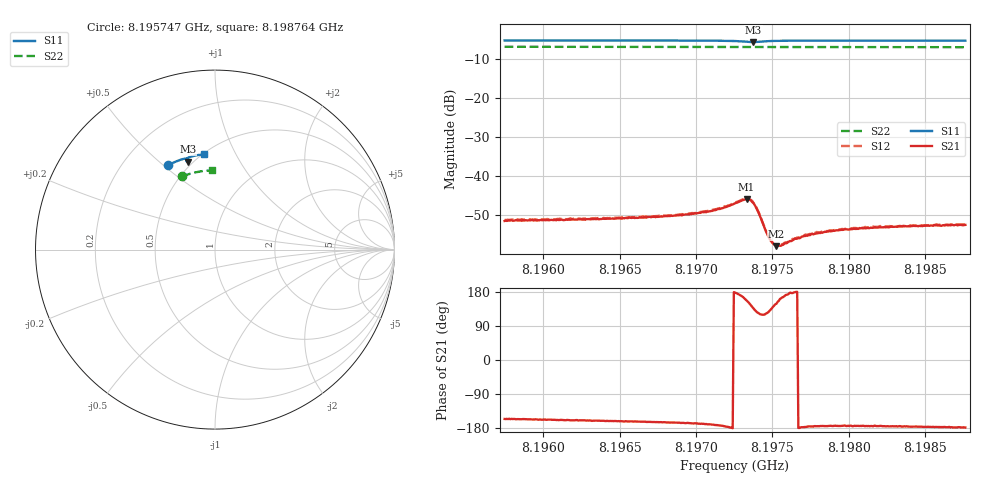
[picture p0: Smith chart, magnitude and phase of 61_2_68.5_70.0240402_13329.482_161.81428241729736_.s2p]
#  HZ  S  RI  R  50.00
! Rohde & Schwarz Vector Network Analyzer
! Rohde-Schwarz,ZNB20-2Port,1311601062101988,3.16
! Created: UTC 3/20/2024, 4:51:14 PM
! freq[Hz]  re:S11  im:S11  re:S21  im:S21  re:S12  im:S12  re:S22  im:S22
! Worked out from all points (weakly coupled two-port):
!   401 points, 8.195747 GHz to 8.198764 GHz, reference 50 ohm
!   highest |S21| = -45.92 dB at 8.197331 GHz (marker M1); lowest = -57.9 dB at 8.197527 GHz (marker M2)
!   lowest |S11| = -5.8 dB at 8.197376 GHz (marker M3), VSWR 3.11, Z = 23.5 + j31.3 ohm
!   |S11| at or under -10 dB: nowhere
!   |S22| runs from -7.1 to -7.0 dB; largest |S21 - S12| = 0.00028
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8.1957472e9  -0.2626 0.4689  -0.00244 -0.00111  -0.00256 -0.00104  -0.1822 0.4073
8.1962526e9  -0.2303 0.4851  -0.00264 -0.000986  -0.00269 -0.000887  -0.1558 0.4174
8.196758e9  -0.1961 0.499  -0.00292 -0.000832  -0.00304 -0.00074  -0.1286 0.4257
8.1969315e9  -0.1835 0.5032  -0.00317 -0.000748  -0.00324 -0.000673  -0.1193 0.428
8.1970823e9  -0.1713 0.5064  -0.00347 -0.000631  -0.00357 -0.000513  -0.1108 0.4299
8.1971653e9  -0.1636 0.5073  -0.00385 -0.000449  -0.00394 -0.00031  -0.1062 0.4309
8.1972558e9  -0.1535 0.5057  -0.00449 0.000155  -0.00457 0.000377  -0.1012 0.4318
8.1973086e9  -0.1477 0.5006  -0.00481 0.0012  -0.00484 0.00144  -0.0981 0.4322
8.1973312e9  -0.1467 0.4965  -0.00467 0.00194  -0.00466 0.00219  -0.0971 0.4325
8.1973539e9  -0.1482 0.4923  -0.0042 0.00267  -0.00411 0.00293  -0.0958 0.4326
8.1973765e9  -0.1521 0.4898  -0.00328 0.00313  -0.00318 0.00332  -0.0947 0.4327
8.1974067e9  -0.1581 0.4912  -0.00199 0.00292  -0.0019 0.00306  -0.0932 0.4331
8.1974745e9  -0.1598 0.5023  -0.001 0.00136  -0.000985 0.00141  -0.0897 0.434
8.1974896e9  -0.159 0.5042  -0.00103 0.0011  -0.000985 0.00117  -0.0887 0.4343
8.1975047e9  -0.1579 0.5058  -0.00107 0.000886  -0.00103 0.000947  -0.088 0.4345
8.1975273e9  -0.1558 0.5077  -0.00109 0.000667  -0.00116 0.000697  -0.0867 0.4346
8.1975575e9  -0.1531 0.51  -0.00124 0.000376  -0.00124 0.00046  -0.085 0.435
8.1976556e9  -0.1446 0.5143  -0.00159 8.31e-06  -0.00162 9.25e-05  -0.0797 0.4358
8.1977612e9  -0.1361 0.5174  -0.00185 -0.000161  -0.00184 -7.67e-05  -0.0735 0.4369
8.1979648e9  -0.1207 0.5214  -0.00206 -0.000232  -0.00209 -0.000121  -0.0622 0.4383
8.1982665e9  -0.0988 0.5259  -0.00223 -0.000183  -0.00231 -0.000106  -0.0452 0.4398
8.1987644e9  -0.0632 0.531  -0.00239 -7.15e-05  -0.00244 2.83e-05  -0.0172 0.4408
